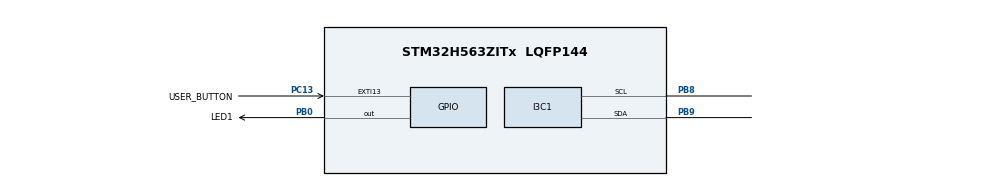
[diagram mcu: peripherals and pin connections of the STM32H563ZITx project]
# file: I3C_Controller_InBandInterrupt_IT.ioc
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CORTEX_M33_NS.userName=CORTEX_M33
I3C1.BusFreeDuration=402
I3C1.DutyCycleI3C=50
I3C1.FrequencyI3C=12500
I3C1.Register0=0x00590909
I3C1.Register1=0x103200f8
I3C1.SCLI3CHighDuration=0x09
I3C1.SCLODLowDuration=0x59
I3C1.SCLPPLowDuration=0x09
I3C1.SDAHoldTime=HAL_I3C_SDA_HOLD_TIME_1_5
I3C1.hexBusFreeDuration=0x32
I3C1.hexBusIdleDuration=0xf8
Mcu.Family=STM32H5
Mcu.Name=STM32H563ZITx
Mcu.Package=LQFP144
NVIC.EXTI13_IRQn=true\:0\:0\:false\:false\:true\:true\:true\:true
NVIC.I3C1_ER_IRQn=true\:0\:0\:false\:false\:true\:true\:true\:true
NVIC.I3C1_EV_IRQn=true\:0\:0\:false\:false\:true\:true\:true\:true
NVIC.PriorityGroup=NVIC_PRIORITYGROUP_4
PB0.GPIO_Label=LED1
PB0.Signal=GPIO_Output
PB8.Mode=Controller
PB8.Signal=I3C1_SCL
PB9.Mode=Controller
PB9.Signal=I3C1_SDA
PC13.GPIO_Label=USER_BUTTON
PC13.GPIO_PuPd=GPIO_PULLDOWN
PC13.Signal=GPXTI13
PH0-OSC_IN(PH0).Mode=HSE-DIG-External-Clock-Source
PH0-OSC_IN(PH0).Signal=RCC_OSC_IN
ProjectManager.HeapSize=0x200
ProjectManager.StackSize=0x400
ProjectManager.TargetToolchain=EWARM V9.20
RCC.ADCFreq_Value=250000000
RCC.AHBFreq_Value=250000000
RCC.APB1Freq_Value=250000000
RCC.APB1TimFreq_Value=250000000
RCC.APB2Freq_Value=250000000
RCC.APB2TimFreq_Value=250000000
RCC.APB3Freq_Value=250000000
RCC.CSI_VALUE=4000000
RCC.CortexFreq_Value=250000000
RCC.EPOD_VALUE=8000000
RCC.HCLKFreq_Value=250000000
RCC.HSE_VALUE=8000000
RCC.HSI48_VALUE=48000000
RCC.HSIDiv=RCC_HSI_DIV1
RCC.HSI_VALUE=64000000
RCC.LSE_VALUE=32768
RCC.LSIRC_VALUE=32000
RCC.PLLFRACN=0
RCC.PLLM=4
RCC.PLLN=250
RCC.PLLSourceVirtual=RCC_PLL1_SOURCE_HSE
RCC.PWR_Regulator_Voltage_Scale=PWR_REGULATOR_VOLTAGE_SCALE0
RCC.SYSCLKFreq_VALUE=250000000
RCC.SYSCLKSource=RCC_SYSCLKSOURCE_PLLCLK
RCC.USBFreq_Value=48000000
RCC.VCOOutputFreq_Value=500000000
VP_ICACHE_VS_ICACHE.Mode=DefaultMode
VP_PWR_VS_SECSignals.Mode=Security/Privilege
board=custom

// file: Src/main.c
/* USER CODE BEGIN Header */
/**
  ******************************************************************************
  * @file    I3C/I3C_Controller_InBandInterrupt_IT/Src/main.c
  * @author  MCD Application Team
  * @brief This sample code shows how to use STM32H5xx I3C LL API to
  *        manage an In-Band-Interrupt procedure between a Controller
  *        and Targets with a communication process based on Interrupt transfer.
  *        The communication is done using 2 or 3 Boards.
  ******************************************************************************
  * @attention
  *
  * Copyright (c) 2023 STMicroelectronics.
  * All rights reserved.
  *
  * This software is licensed under terms that can be found in the LICENSE file
  * in the root directory of this software component.
  * If no LICENSE file comes with this software, it is provided AS-IS.
  *
  ******************************************************************************
  */
/* USER CODE END Header */
#include "main.h"

/* USER CODE BEGIN Includes */
#include "desc_target1.h"
#include "desc_target2.h"
/* USER CODE END Includes */

/* USER CODE BEGIN PV */
__IO uint8_t ubButtonPress = 0;

/* Number of Targets detected during DAA procedure */
__IO uint32_t uwTargetCount = 0;

/* Variable to catch IBI event */
__IO uint8_t ubIBIRequested = 0;

/* Variable to retrieve IBI information */
__IO uint32_t uwIBIPayload = 0;
__IO uint32_t uwNbIBIData = 0;
__IO uint32_t uwNbIBITargetAddr = 0;

/* Index of Target to store the different Target capabilities */
uint32_t ubTargetIndex;

/* Array contain targets descriptor */
TargetDesc_TypeDef *aTargetDesc[2] = \
                          {
                            &TargetDesc1,       /* DEVICE_ID1 */
                            &TargetDesc2        /* DEVICE_ID2 */
                          };

/* Buffer that contain payload data, mean PID, BCR, DCR */
uint8_t aPayloadBuffer[64*COUNTOF(aTargetDesc)];

/* Completion status */
__IO uint8_t ubFrameComplete = 0;
/* USER CODE END PV */

void SystemClock_Config(void);
static void MX_GPIO_Init(void);
static void MX_I3C1_Init(void);
static void MX_ICACHE_Init(void);
/* USER CODE BEGIN PFP */
void LED_On(void);
void LED_Off(void);
void LED_Toggle(void);
void LED_Blinking(uint32_t Period);
void WaitForUserButtonPress(void);
void Handle_ENTDAA_Controller(void);
void Target_Request_DynamicAddrCallback(uint64_t targetPayload);
/* USER CODE END PFP */

int main(void)
{

  /* MCU Configuration--------------------------------------------------------*/

  /* Reset of all peripherals, Initializes the Flash interface and the Systick. */

  /* System interrupt init*/
  NVIC_SetPriorityGrouping(NVIC_PRIORITYGROUP_4);

  /* SysTick_IRQn interrupt configuration */
  NVIC_SetPriority(SysTick_IRQn, NVIC_EncodePriority(NVIC_GetPriorityGrouping(),15, 0));

  /* Configure the system clock */
  SystemClock_Config();

  /* Initialize all configured peripherals */
  MX_GPIO_Init();
  MX_I3C1_Init();
  MX_ICACHE_Init();
  /* USER CODE BEGIN 2 */
  /* Set LED1 Off */
  LED_Off();

  /*##- Start Dynamic Address Assignment procedure ##################################*/

  /* Wait for USER push-button press to start transfer */
  WaitForUserButtonPress();

  /* Handle Dynamic Address Assignment */
  Handle_ENTDAA_Controller();

  /* Wait end of Dynamic Address Assignment procedure */
  while (ubFrameComplete == 0U);

  /* Reset Complete variable */
  ubFrameComplete = 0;

  /*##- Store Devices capabilities #######################################*/
  /* Fill Device descriptor for all target detected during ENTDAA procedure */
  for(ubTargetIndex = 0; ubTargetIndex < uwTargetCount; ubTargetIndex++)
  {
    LL_I3C_ConfigDeviceCapabilities(I3C1,
                                 (ubTargetIndex+1),
                                 aTargetDesc[ubTargetIndex]->DYNAMIC_ADDR,
                                 LL_I3C_GET_IBI_CAPABLE(LL_I3C_GET_BCR(aTargetDesc[ubTargetIndex]->TARGET_BCR_DCR_PID)),
                                 LL_I3C_GET_IBI_PAYLOAD(LL_I3C_GET_BCR(aTargetDesc[ubTargetIndex]->TARGET_BCR_DCR_PID)),
                                 LL_I3C_GET_CR_CAPABLE(LL_I3C_GET_BCR(aTargetDesc[ubTargetIndex]->TARGET_BCR_DCR_PID)));
  }
  /* USER CODE END 2 */

  /* Infinite loop */
  /* USER CODE BEGIN WHILE */
  while (1)
  {
    /*##- Start the listen mode process ##################################*/
    while(ubIBIRequested == 0U)
    {
    }

    /* Getting the information from the last IBI request */
    uwIBIPayload = LL_I3C_GetIBIPayload(I3C1);
    uwNbIBIData = LL_I3C_GetNbIBIAddData(I3C1);
    uwNbIBITargetAddr = LL_I3C_GetIBITargetAddr(I3C1);
    if ((uwIBIPayload == 0) && (uwNbIBIData == 0) && (uwNbIBITargetAddr == 0))
    {
      /* Error_Handler() function is called when error occurs. */
      Error_Handler();
    }
    else
    {
      /* Toggle LED1: Inform of IBI completion treatment */
      LED_Toggle();
    }

    /* Reset Global variable */
    ubIBIRequested = 0U;
    /* USER CODE END WHILE */

  }
}

void SystemClock_Config(void)
{
  LL_FLASH_SetLatency(LL_FLASH_LATENCY_5);
  while(LL_FLASH_GetLatency()!= LL_FLASH_LATENCY_5)
  {
  }

  LL_PWR_SetRegulVoltageScaling(LL_PWR_REGU_VOLTAGE_SCALE0);
  while (LL_PWR_IsActiveFlag_VOS() == 0)
  {
  }
  LL_RCC_HSE_EnableBypass();
  LL_RCC_HSE_SetExternalClockType(LL_RCC_HSE_DIGITAL_TYPE);
  LL_RCC_HSE_Enable();

   /* Wait till HSE is ready */
  while(LL_RCC_HSE_IsReady() != 1)
  {
  }

  LL_RCC_PLL1_SetSource(LL_RCC_PLL1SOURCE_HSE);
  LL_RCC_PLL1_SetVCOInputRange(LL_RCC_PLLINPUTRANGE_2_4);
  LL_RCC_PLL1_SetVCOOutputRange(LL_RCC_PLLVCORANGE_WIDE);
  LL_RCC_PLL1_SetM(4);
  LL_RCC_PLL1_SetN(250);
  LL_RCC_PLL1_SetP(2);
  LL_RCC_PLL1_SetQ(2);
  LL_RCC_PLL1_SetR(2);
  LL_RCC_PLL1P_Enable();
  LL_RCC_PLL1_Enable();

   /* Wait till PLL is ready */
  while(LL_RCC_PLL1_IsReady() != 1)
  {
  }

  LL_RCC_SetSysClkSource(LL_RCC_SYS_CLKSOURCE_PLL1);

   /* Wait till System clock is ready */
  while(LL_RCC_GetSysClkSource() != LL_RCC_SYS_CLKSOURCE_STATUS_PLL1)
  {
  }

  LL_RCC_SetAHBPrescaler(LL_RCC_SYSCLK_DIV_1);
  LL_RCC_SetAPB1Prescaler(LL_RCC_APB1_DIV_1);
  LL_RCC_SetAPB2Prescaler(LL_RCC_APB2_DIV_1);
  LL_RCC_SetAPB3Prescaler(LL_RCC_APB3_DIV_1);

  LL_Init1msTick(250000000);

  LL_SetSystemCoreClock(250000000);
}

static void MX_I3C1_Init(void)
{

  LL_GPIO_InitTypeDef GPIO_InitStruct = {0};

  LL_RCC_SetI3CClockSource(LL_RCC_I3C1_CLKSOURCE_PCLK1);

  /* Peripheral clock enable */
  LL_APB1_GRP1_EnableClock(LL_APB1_GRP1_PERIPH_I3C1);

  LL_AHB2_GRP1_EnableClock(LL_AHB2_GRP1_PERIPH_GPIOB);
  /**I3C1 GPIO Configuration
  PB8   ------> I3C1_SCL
  PB9   ------> I3C1_SDA
  */
  GPIO_InitStruct.Pin = LL_GPIO_PIN_8|LL_GPIO_PIN_9;
  GPIO_InitStruct.Mode = LL_GPIO_MODE_ALTERNATE;
  GPIO_InitStruct.Speed = LL_GPIO_SPEED_FREQ_VERY_HIGH;
  GPIO_InitStruct.Pull = LL_GPIO_PULL_UP;
  GPIO_InitStruct.Alternate = LL_GPIO_AF_3;
  LL_GPIO_Init(GPIOB, &GPIO_InitStruct);

  /* I3C1 interrupt Init */
  NVIC_SetPriority(I3C1_EV_IRQn, NVIC_EncodePriority(NVIC_GetPriorityGrouping(),0, 0));
  NVIC_EnableIRQ(I3C1_EV_IRQn);
  NVIC_SetPriority(I3C1_ER_IRQn, NVIC_EncodePriority(NVIC_GetPriorityGrouping(),0, 0));
  NVIC_EnableIRQ(I3C1_ER_IRQn);

  /** I3C Initialization
  */
  LL_I3C_SetMode(I3C1, LL_I3C_MODE_CONTROLLER);
  LL_I3C_SetDataHoldTime(I3C1, LL_I3C_SDA_HOLD_TIME_1_5);
  LL_I3C_SetControllerActivityState(I3C1, LL_I3C_OWN_ACTIVITY_STATE_0);
  LL_I3C_ConfigClockWaveForm(I3C1, 0x00590909);
  LL_I3C_SetCtrlBusCharacteristic(I3C1, 0x103200f8);
  LL_I3C_DisableHJAck(I3C1);

  /** Configure FIFO
  */
  LL_I3C_SetRxFIFOThreshold(I3C1, LL_I3C_RXFIFO_THRESHOLD_1_4);
  LL_I3C_SetTxFIFOThreshold(I3C1, LL_I3C_TXFIFO_THRESHOLD_1_4);
  LL_I3C_DisableControlFIFO(I3C1);
  LL_I3C_DisableStatusFIFO(I3C1);

  /** Configure Controller
  */
  LL_I3C_SetOwnDynamicAddress(I3C1, 0);
  LL_I3C_EnableOwnDynAddress(I3C1);
  LL_I3C_SetStallTime(I3C1, 0x00);
  LL_I3C_DisableStallACK(I3C1);
  LL_I3C_DisableStallParityCCC(I3C1);
  LL_I3C_DisableStallParityData(I3C1);
  LL_I3C_DisableStallTbit(I3C1);
  LL_I3C_DisableHighKeeperSDA(I3C1);

  /** Enable the selected I3C peripheral
  */
  LL_I3C_Enable(I3C1);
  /* USER CODE BEGIN I3C1_Init 2 */

  LL_mDelay(1);

  GPIO_InitStruct.Pin = LL_GPIO_PIN_8|LL_GPIO_PIN_9;
  GPIO_InitStruct.Mode = LL_GPIO_MODE_ALTERNATE;
  GPIO_InitStruct.Speed = LL_GPIO_SPEED_FREQ_VERY_HIGH;
  GPIO_InitStruct.Pull = LL_GPIO_PULL_NO;
  GPIO_InitStruct.Alternate = LL_GPIO_AF_3;
  LL_GPIO_Init(GPIOB, &GPIO_InitStruct);

  LL_I3C_EnableIT_FC(I3C1);
  LL_I3C_EnableIT_IBI(I3C1);
  LL_I3C_EnableIT_TXFNF(I3C1);
  LL_I3C_EnableIT_ERR(I3C1);
  /* USER CODE END I3C1_Init 2 */

}

static void MX_ICACHE_Init(void)
{

  /** Enable instruction cache (default 2-ways set associative cache)
  */
  LL_ICACHE_Enable();

}

static void MX_GPIO_Init(void)
{
  LL_EXTI_InitTypeDef EXTI_InitStruct = {0};
  LL_GPIO_InitTypeDef GPIO_InitStruct = {0};

  /* GPIO Ports Clock Enable */
  LL_AHB2_GRP1_EnableClock(LL_AHB2_GRP1_PERIPH_GPIOC);
  LL_AHB2_GRP1_EnableClock(LL_AHB2_GRP1_PERIPH_GPIOH);
  LL_AHB2_GRP1_EnableClock(LL_AHB2_GRP1_PERIPH_GPIOB);

  /**/
  LL_GPIO_ResetOutputPin(LED1_GPIO_Port, LED1_Pin);

  /**/
  LL_EXTI_SetEXTISource(LL_EXTI_EXTI_PORTC, LL_EXTI_EXTI_LINE13);

  /**/
  EXTI_InitStruct.Line_0_31 = LL_EXTI_LINE_13;
  EXTI_InitStruct.Line_32_63 = LL_EXTI_LINE_NONE;
  EXTI_InitStruct.LineCommand = ENABLE;
  EXTI_InitStruct.Mode = LL_EXTI_MODE_IT;
  EXTI_InitStruct.Trigger = LL_EXTI_TRIGGER_RISING;
  LL_EXTI_Init(&EXTI_InitStruct);

  /**/
  LL_GPIO_SetPinPull(USER_BUTTON_GPIO_Port, USER_BUTTON_Pin, LL_GPIO_PULL_DOWN);

  /**/
  LL_GPIO_SetPinMode(USER_BUTTON_GPIO_Port, USER_BUTTON_Pin, LL_GPIO_MODE_INPUT);

  /**/
  GPIO_InitStruct.Pin = LED1_Pin;
  GPIO_InitStruct.Mode = LL_GPIO_MODE_OUTPUT;
  GPIO_InitStruct.Speed = LL_GPIO_SPEED_FREQ_LOW;
  GPIO_InitStruct.OutputType = LL_GPIO_OUTPUT_PUSHPULL;
  GPIO_InitStruct.Pull = LL_GPIO_PULL_NO;
  LL_GPIO_Init(LED1_GPIO_Port, &GPIO_InitStruct);

  /* EXTI interrupt init*/
  NVIC_SetPriority(EXTI13_IRQn, NVIC_EncodePriority(NVIC_GetPriorityGrouping(),0, 0));
  NVIC_EnableIRQ(EXTI13_IRQn);

}

/* USER CODE BEGIN 4 */
/**
  * @brief  Turn-on LED1.
  * @param  None
  * @retval None
  */
void LED_On(void)
{
  /* Turn LED1 on */
  LL_GPIO_SetOutputPin(LED1_GPIO_Port, LED1_Pin);
}

/**
  * @brief  Turn-off LED1.
  * @param  None
  * @retval None
  */
void LED_Off(void)
{
  /* Turn LED1 off */
  LL_GPIO_ResetOutputPin(LED1_GPIO_Port, LED1_Pin);
}

/**
  * @brief  Toggle LED1.
  * @param  None
  * @retval None
  */
void LED_Toggle(void)
{
  /* Toggle LED1 on */
  LL_GPIO_TogglePin(LED1_GPIO_Port, LED1_Pin);
}

/**
  * @brief  Set LED1 to Blinking mode for an infinite loop (toggle period based on value provided as input parameter).
  * @param  Period : Period of time (in ms) between each toggling of LED
  *   This parameter can be user defined values. Pre-defined values used in that example are :
  *     @arg LED_BLINK_FAST : Fast Blinking
  *     @arg LED_BLINK_SLOW : Slow Blinking
  *     @arg LED_BLINK_ERROR : Error specific Blinking
  * @retval None
  */
void LED_Blinking(uint32_t Period)
{
  /* Turn LED1 on */
  LED_On();

  /* Toggle IO in an infinite loop */
  while (1)
  {
    LED_Toggle();
    LL_mDelay(Period);
  }
}

/**
  * @brief  This Function handle Controller events to perform an Assign dynamic address process
  * @note  This function is composed in one step :
  *        -1- Initiate the Dynamic address assignment procedure.
  * @param  None
  * @retval None
  */
void Handle_ENTDAA_Controller(void)
{
  /* (1) Initiate a Dynamic Address Assignment to the Target connected on the bus ****/
  /* Controller Generate Start condition for a write request with a Broadcast ENTDAA:
  *  - to the Targets connected on the bus
  *  - with an auto stop condition generation when all Targets answer the ENTDAA sequence.
  */
  LL_I3C_ControllerHandleCCC(I3C1, Broadcast_ENTDAA, 0, LL_I3C_GENERATE_STOP);
}

/******************************************************************************/
/*   IRQ HANDLER TREATMENT Functions                                          */
/******************************************************************************/
/**
  * @brief  Wait for USER push-button press to start transfer.
  * @param  None
  * @retval None
  */
/*  */
void WaitForUserButtonPress(void)
{
  while (ubButtonPress == 0)
  {
    LED_Toggle();
    LL_mDelay(LED_BLINK_FAST);
  }
  /* Turn LED1 off */
  LED_Off();

  /* Reset Variable */
  ubButtonPress = 0;
}

/**
  * @brief  Function to manage USER push-button
  * @param  None
  * @retval None
  */
void UserButton_Callback(void)
{
  /* Update USER push-button variable : to be checked in waiting loop in main program */
  ubButtonPress = 1;
}

/**
  * @brief  I3C transmit Dynamic address to a Target.
  * @param  None
  * @retval None
  */
static void I3C_DynamicAddressTreatment(void)
{
  uint64_t target_payload = 0U;

  /* Check on the Rx FIFO threshold to know the Dynamic Address Assignment treatment process : byte or word */
  if (LL_I3C_GetRxFIFOThreshold(I3C1) == LL_I3C_RXFIFO_THRESHOLD_1_4)
  {
    /* Loop to get target payload */
    for (uint32_t index = 0U; index < 8U; index++)
    {
      /* Retrieve payload byte by byte */
      target_payload |= (uint64_t)((uint64_t)LL_I3C_ReceiveData8(I3C1) << (index * 8U));
    }
  }
  else
  {
    /* Retrieve first 32 bits payload */
    target_payload = (uint64_t)LL_I3C_ReceiveData32(I3C1);

    /* Retrieve second 32 bits payload */
    target_payload |= (uint64_t)((uint64_t)LL_I3C_ReceiveData32(I3C1) << 32U);
  }

  /* Call the corresponding callback */
  Target_Request_DynamicAddrCallback(target_payload);
}

/**
  * @brief  Target Request Dynamic Address callback.
  * @param  targetPayload : Contain the target payload.
  * @retval None
  */
void Target_Request_DynamicAddrCallback(uint64_t targetPayload)
{
  /* Store Payload in aTargetDesc */
  aTargetDesc[uwTargetCount]->TARGET_BCR_DCR_PID = targetPayload;

  /* Send associated dynamic address */
  /* Write device address in the TDR register */
  /* Increment Target counter */
  LL_I3C_TransmitData8(I3C1, aTargetDesc[uwTargetCount++]->DYNAMIC_ADDR);
}

/**
  * @brief  Controller Complete callback.
  * @param  None
  * @retval None
  */
void Controller_Complete_Callback(void)
{
  /* Update Completion status */
  ubFrameComplete++;

  /* Toggle LED1: Transfer in Transmission process is correct */
  LED_Toggle();
}

/**
  * @brief  Controller Transmit callback.
  * @param  None
  * @retval None
  */
void Controller_Transmit_Callback(void)
{
  I3C_DynamicAddressTreatment();
}

/**
  * @brief  Controller Notification callback.
  * @retval None
  */
void Controller_Notification_Callback(void)
{
  /* Update In Band Interrupt request status */
  ubIBIRequested = 1U;
}
/* USER CODE END 4 */

void Error_Handler(void)
{
  /* USER CODE BEGIN Error_Handler_Debug */
  /* User can add his own implementation to report the LL error return state */
  while (1)
  {
    /* Unexpected event : Set LED1 to Blinking mode to indicate error occurs */
    LED_Blinking(LED_BLINK_ERROR);
  }
  /* USER CODE END Error_Handler_Debug */
}
